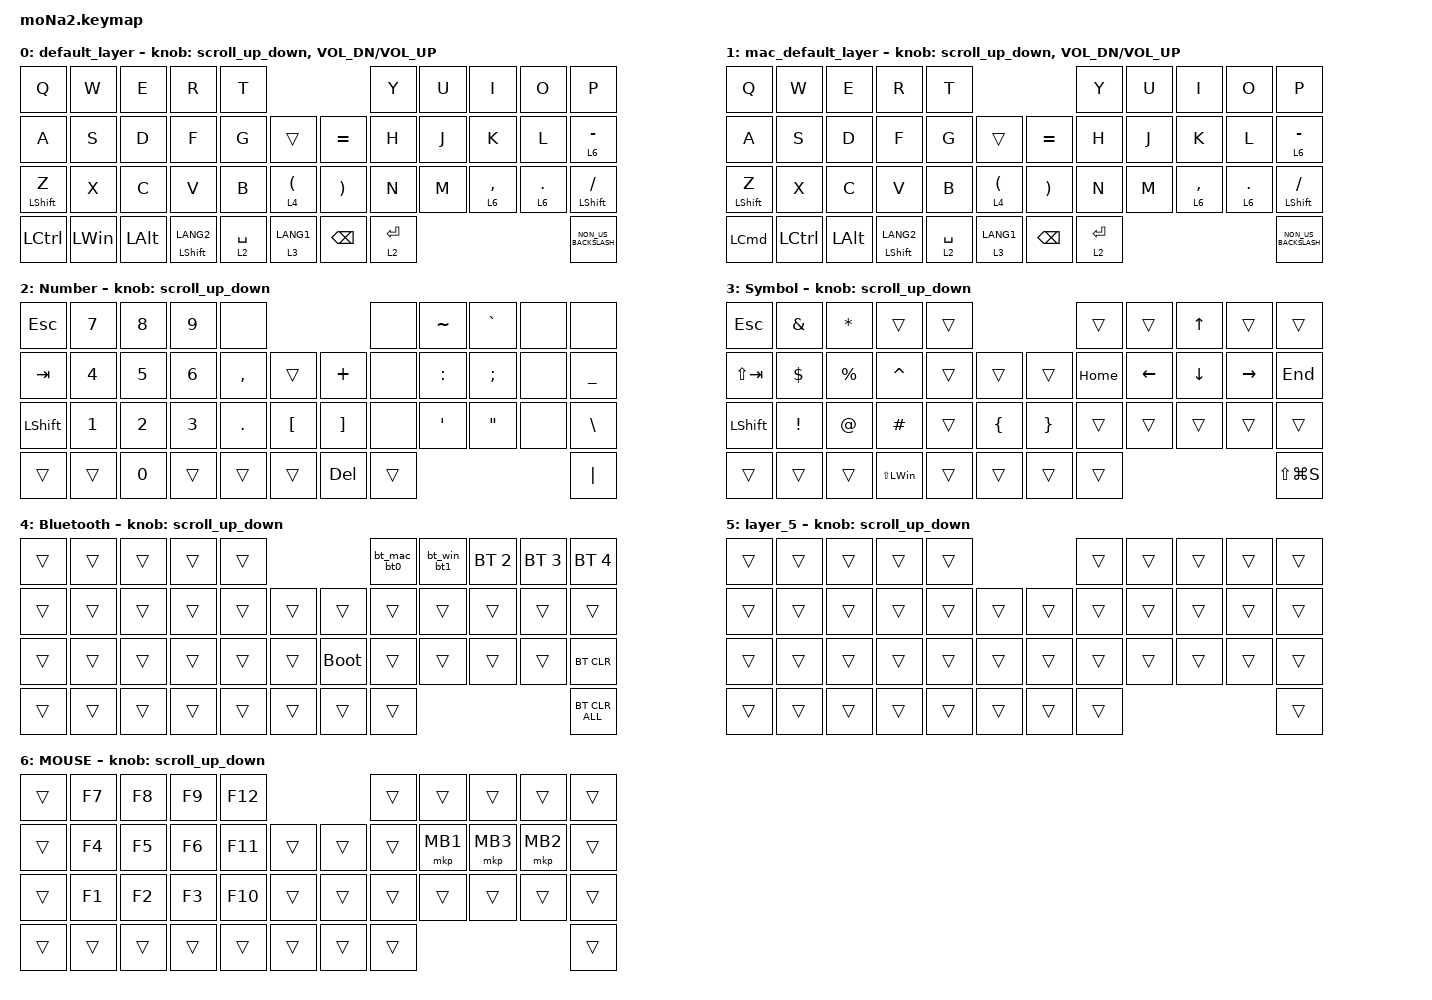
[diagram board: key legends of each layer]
#include <behaviors.dtsi>
#include <dt-bindings/zmk/bt.h>
#include <dt-bindings/zmk/keys.h>
#include <dt-bindings/zmk/pointing.h>

#define ZMK_POINTING_DEFAULT_SCRL_VAL 100
#define MOUSE 6

&mt {
    flavor = "balanced";
    quick-tap-ms = <0>;
};

/ {
    combos { compatible = "zmk,combos"; };

    macros {
        to_layer_0: to_layer_0 {
            compatible = "zmk,behavior-macro-one-param";
            #binding-cells = <1>;
            bindings = <&to 0 &macro_param_1to1 &kp MACRO_PLACEHOLDER>;
            label = "TO_LAYER_0";
        };

        bt_mac_bt0: to_layer_1 {
            compatible = "zmk,behavior-macro";
            #binding-cells = <0>;
            bindings = <&to 1 &bt BT_SEL 0>;
            label = "TO_LAYER_1";
        };

        bt_win_bt1: bt_win {
            compatible = "zmk,behavior-macro";
            #binding-cells = <0>;
            bindings = <&to 0 &bt BT_SEL 1>;
            label = "BT_WIN";
        };
    };

    behaviors {
        lt_to_layer_0: lt_to_layer_0 {
            compatible = "zmk,behavior-hold-tap";
            label = "LAYER_TAP_TO_0";
            bindings = <&mo>, <&to_layer_0>;

            #binding-cells = <2>;
            tapping-term-ms = <200>;
        };

        scroll_up_down: behavior_sensor_rotate_mouse_wheel_up_down {
            compatible = "zmk,behavior-sensor-rotate";
            #sensor-binding-cells = <0>;
            bindings = <&msc SCRL_UP>, <&msc SCRL_DOWN>;

            tap-ms = <20>;
        };
    };

    keymap {
        compatible = "zmk,keymap";

        default_layer {
            bindings = <
&kp Q             &kp W         &kp E         &kp R                 &kp T                                                         &kp Y        &kp U  &kp I        &kp O         &kp P
&kp A             &kp S         &kp D         &kp F                 &kp G        &trans                    &kp EQUAL              &kp H        &kp J  &kp K        &kp L         &lt 6 MINUS
&mt LEFT_SHIFT Z  &kp X         &kp C         &kp V                 &kp B        &lt 4 LEFT_PARENTHESIS    &kp RIGHT_PARENTHESIS  &kp N        &kp M  &lt 6 COMMA  &lt 6 PERIOD  &mt LEFT_SHIFT SLASH
&kp LCTRL         &kp LEFT_WIN  &kp LEFT_ALT  &mt LEFT_SHIFT LANG2  &lt 2 SPACE  &lt 3 LANG1               &kp BACKSPACE          &lt 2 ENTER                                    &kp NON_US_BACKSLASH
            >;

            sensor-bindings =
                <&scroll_up_down>,
                <&inc_dec_kp C_VOL_DN C_VOL_UP>;
        };

        mac_default_layer {
            bindings = <
&kp Q             &kp W             &kp E         &kp R                 &kp T                                                         &kp Y        &kp U  &kp I        &kp O         &kp P
&kp A             &kp S             &kp D         &kp F                 &kp G        &trans                    &kp EQUAL              &kp H        &kp J  &kp K        &kp L         &lt 6 MINUS
&mt LEFT_SHIFT Z  &kp X             &kp C         &kp V                 &kp B        &lt 4 LEFT_PARENTHESIS    &kp RIGHT_PARENTHESIS  &kp N        &kp M  &lt 6 COMMA  &lt 6 PERIOD  &mt LEFT_SHIFT SLASH
&kp LEFT_COMMAND  &kp LEFT_CONTROL  &kp LEFT_ALT  &mt LEFT_SHIFT LANG2  &lt 2 SPACE  &lt 3 LANG1               &kp BACKSPACE          &lt 2 ENTER                                    &kp NON_US_BACKSLASH
            >;

            sensor-bindings =
                <&scroll_up_down>,
                <&inc_dec_kp C_VOL_DN C_VOL_UP>;
        };

        Number {
            bindings = <
&kp ESCAPE      &kp NUMBER_7  &kp NUMBER_8  &kp NUMBER_9  &none                                              &none   &kp TILDE  &kp GRAVE          &none  &none
&kp TAB         &kp NUMBER_4  &kp NUMBER_5  &kp NUMBER_6  &kp COMMA   &trans              &kp PLUS           &none   &kp COLON  &kp SEMICOLON      &none  &kp UNDERSCORE
&kp LEFT_SHIFT  &kp NUMBER_1  &kp NUMBER_2  &kp NUMBER_3  &kp PERIOD  &kp LEFT_BRACKET    &kp RIGHT_BRACKET  &none   &kp SQT    &kp DOUBLE_QUOTES  &none  &kp BACKSLASH
&trans          &trans        &kp N0        &trans        &trans      &trans              &kp DELETE         &trans                                       &kp PIPE
            >;

            sensor-bindings = <&scroll_up_down>;
        };

        Symbol {
            bindings = <
&kp ESCAPE      &kp AMPERSAND    &kp ASTERISK  &trans            &trans                                     &trans    &trans    &kp UP_ARROW    &trans     &trans
&kp LS(TAB)     &kp DOLLAR       &kp PERCENT   &kp CARET         &trans  &trans            &trans           &kp HOME  &kp LEFT  &kp DOWN_ARROW  &kp RIGHT  &kp END
&kp LEFT_SHIFT  &kp EXCLAMATION  &kp AT        &kp HASH          &trans  &kp LEFT_BRACE    &kp RIGHT_BRACE  &trans    &trans    &trans          &trans     &trans
&trans          &trans           &trans        &kp LS(LEFT_WIN)  &trans  &trans            &trans           &trans                                         &kp LS(LG(S))
            >;

            sensor-bindings = <&scroll_up_down>;
        };

        Bluetooth {
            bindings = <
&trans  &trans  &trans  &trans  &trans                         &bt_mac_bt0  &bt_win_bt1  &bt BT_SEL 2  &bt BT_SEL 3  &bt BT_SEL 4
&trans  &trans  &trans  &trans  &trans  &trans    &trans       &trans       &trans       &trans        &trans        &trans
&trans  &trans  &trans  &trans  &trans  &trans    &bootloader  &trans       &trans       &trans        &trans        &bt BT_CLR
&trans  &trans  &trans  &trans  &trans  &trans    &trans       &trans                                                &bt BT_CLR_ALL
            >;

            sensor-bindings = <&scroll_up_down>;
        };

        layer_5 {
            bindings = <
&trans  &trans  &trans  &trans  &trans                    &trans  &trans  &trans  &trans  &trans
&trans  &trans  &trans  &trans  &trans  &trans    &trans  &trans  &trans  &trans  &trans  &trans
&trans  &trans  &trans  &trans  &trans  &trans    &trans  &trans  &trans  &trans  &trans  &trans
&trans  &trans  &trans  &trans  &trans  &trans    &trans  &trans                          &trans
            >;

            sensor-bindings = <&scroll_up_down>;
        };

        MOUSE {
            bindings = <
&trans  &kp F7  &kp F8  &kp F9  &kp F12                    &trans  &trans    &trans    &trans    &trans
&trans  &kp F4  &kp F5  &kp F6  &kp F11  &trans    &trans  &trans  &mkp MB1  &mkp MB3  &mkp MB2  &trans
&trans  &kp F1  &kp F2  &kp F3  &kp F10  &trans    &trans  &trans  &trans    &trans    &trans    &trans
&trans  &trans  &trans  &trans  &trans   &trans    &trans  &trans                                &trans
            >;

            sensor-bindings = <&scroll_up_down>;
        };
    };
};
